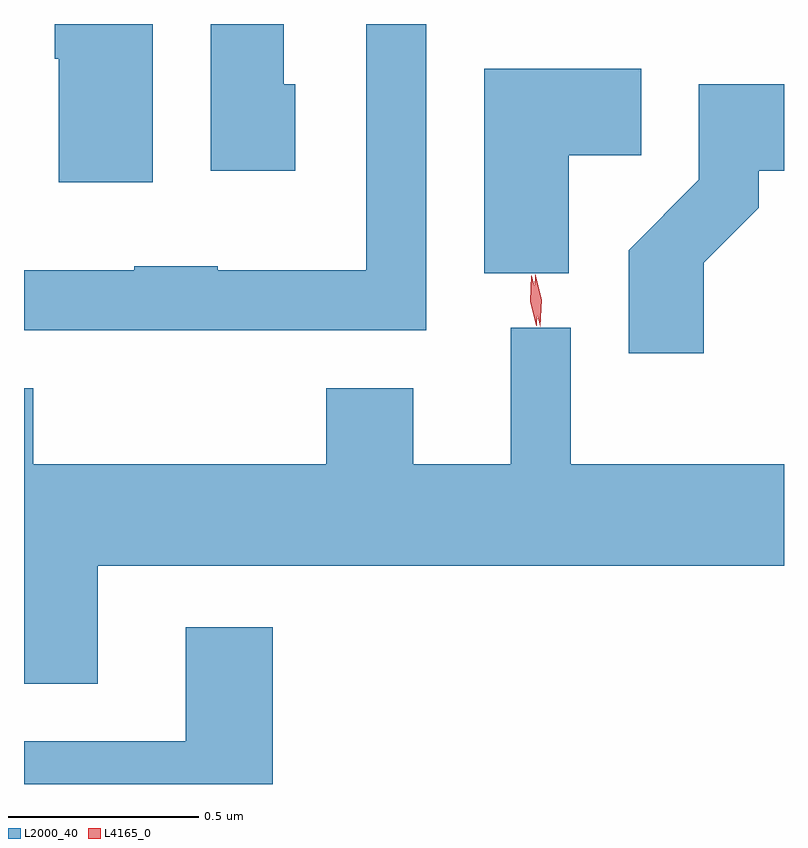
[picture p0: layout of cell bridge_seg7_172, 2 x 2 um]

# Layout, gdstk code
import gdstk
lib = gdstk.Library(unit=1e-6, precision=1e-09)
def P(c, l, *ps):  # polygons
    for p in ps: c.add(gdstk.Polygon(p, *l))
L2000_40 = (2000, 40)
L4165_0 = (4165, 0)

bridge_seg7_172 = lib.new_cell('bridge_seg7_172')
P(bridge_seg7_172, L2000_40, [(1618.544,1726.842),(1618.386,1726.842),(1618.386,1726.194),(1617.995,1726.194),(1617.995,1726.204),(1617.775,1726.204),(1617.775,1726.194),(1617.485,1726.194),(1617.485,1726.036),(1618.544,1726.036)],
  [(1617.824,1726.842),(1617.566,1726.842),(1617.566,1726.75),(1617.576,1726.75),(1617.576,1726.426),(1617.824,1726.426)],
  [(1618.199,1726.684),(1618.169,1726.684),(1618.169,1726.842),(1617.976,1726.842),(1617.976,1726.456),(1618.199,1726.456)],
  [(1618.919,1726.496),(1619.109,1726.496),(1619.109,1726.724),(1618.696,1726.724),(1618.696,1726.186),(1618.919,1726.186)],
  [(1619.274,1726.214),(1619.419,1726.359),(1619.419,1726.456),(1619.485,1726.456),(1619.485,1726.684),(1619.261,1726.684),(1619.261,1726.432),(1619.076,1726.247),(1619.076,1725.976),(1619.274,1725.976)],
  [(1617.679,1725.416),(1619.485,1725.416),(1619.485,1725.684),(1618.924,1725.684),(1618.924,1726.043),(1618.766,1726.043),(1618.766,1725.684),(1618.509,1725.684),(1618.509,1725.884),(1618.281,1725.884),(1618.281,1725.684),(1617.509,1725.684),(1617.509,1725.884),(1617.485,1725.884),(1617.485,1725.106),(1617.679,1725.106)],
  [(1618.139,1725.254),(1617.911,1725.254),(1617.911,1724.954),(1617.485,1724.954),(1617.485,1724.842),(1618.139,1724.842)])
P(bridge_seg7_172, L4165_0, [(1618.844,1726.045),(1618.843,1726.046),(1618.828,1726.114),(1618.83,1726.183),(1618.831,1726.184),(1618.831,1726.183),(1618.847,1726.116),(1618.844,1726.046)],
  [(1618.833,1726.048),(1618.817,1726.113),(1618.82,1726.179),(1618.821,1726.18),(1618.821,1726.179),(1618.837,1726.115),(1618.834,1726.048),(1618.834,1726.048)])

lib.write_gds('bridge_seg7_172.gds')
